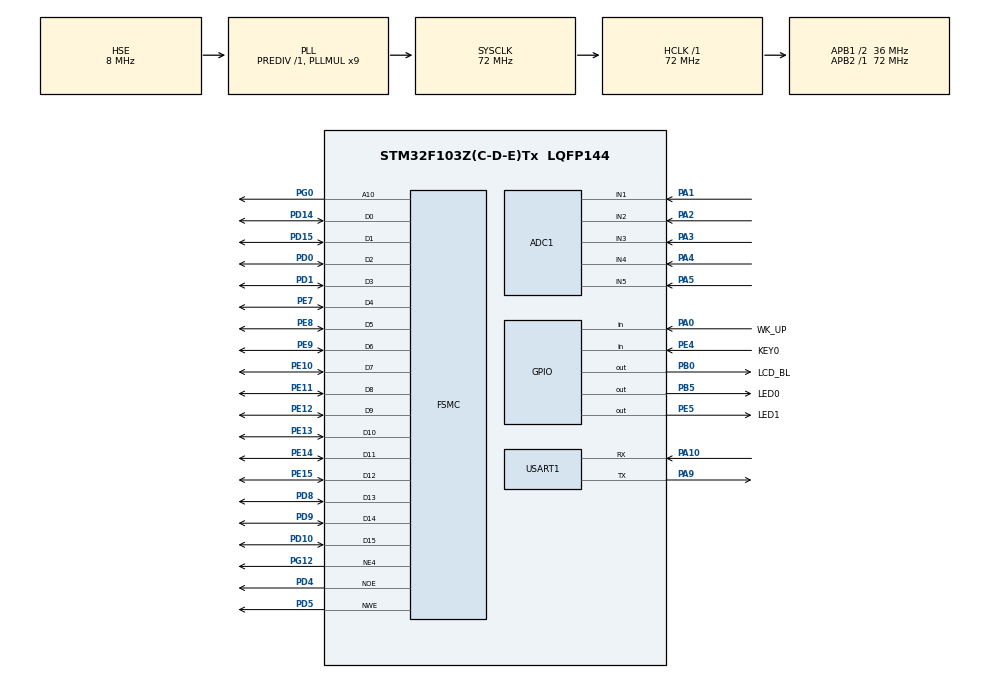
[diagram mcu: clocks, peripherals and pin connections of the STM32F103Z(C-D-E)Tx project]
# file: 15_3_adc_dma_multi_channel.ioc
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ADC1.Channel-1\#ChannelRegularConversion=ADC_CHANNEL_1
ADC1.Channel-2\#ChannelRegularConversion=ADC_CHANNEL_2
ADC1.Channel-3\#ChannelRegularConversion=ADC_CHANNEL_3
ADC1.Channel-4\#ChannelRegularConversion=ADC_CHANNEL_4
ADC1.Channel-5\#ChannelRegularConversion=ADC_CHANNEL_5
ADC1.ContinuousConvMode=ENABLE
ADC1.NbrOfConversion=5
ADC1.NbrOfConversionFlag=1
ADC1.Rank-1\#ChannelRegularConversion=1
ADC1.Rank-2\#ChannelRegularConversion=2
ADC1.Rank-3\#ChannelRegularConversion=3
ADC1.Rank-4\#ChannelRegularConversion=4
ADC1.Rank-5\#ChannelRegularConversion=5
ADC1.SamplingTime-1\#ChannelRegularConversion=ADC_SAMPLETIME_239CYCLES_5
ADC1.SamplingTime-2\#ChannelRegularConversion=ADC_SAMPLETIME_239CYCLES_5
ADC1.SamplingTime-3\#ChannelRegularConversion=ADC_SAMPLETIME_239CYCLES_5
ADC1.SamplingTime-4\#ChannelRegularConversion=ADC_SAMPLETIME_239CYCLES_5
ADC1.SamplingTime-5\#ChannelRegularConversion=ADC_SAMPLETIME_239CYCLES_5
ADC1.master=1
Dma.ADC1.0.Direction=DMA_PERIPH_TO_MEMORY
Dma.ADC1.0.Instance=DMA1_Channel1
Dma.ADC1.0.MemDataAlignment=DMA_MDATAALIGN_HALFWORD
Dma.ADC1.0.MemInc=DMA_MINC_ENABLE
Dma.ADC1.0.Mode=DMA_NORMAL
Dma.ADC1.0.PeriphDataAlignment=DMA_PDATAALIGN_HALFWORD
Dma.ADC1.0.PeriphInc=DMA_PINC_DISABLE
Dma.ADC1.0.Priority=DMA_PRIORITY_MEDIUM
Dma.Request0=ADC1
FSMC.AddressSetupTime1=0
FSMC.DataSetupTime1=15
FSMC.ExtendedAddressSetupTime1=0
FSMC.ExtendedDataSetupTime1=1
FSMC.ExtendedMode1=FSMC_EXTENDED_MODE_ENABLE
Mcu.Family=STM32F1
Mcu.Name=STM32F103Z(C-D-E)Tx
Mcu.Package=LQFP144
NVIC.DMA1_Channel1_IRQn=true\:2\:1\:true\:false\:true\:false\:true\:true
NVIC.PriorityGroup=NVIC_PRIORITYGROUP_2
NVIC.USART1_IRQn=true\:2\:2\:true\:false\:true\:true\:true\:true
OSC_IN.Mode=HSE-External-Oscillator
OSC_IN.Signal=RCC_OSC_IN
OSC_OUT.Mode=HSE-External-Oscillator
OSC_OUT.Signal=RCC_OSC_OUT
PA0-WKUP.GPIO_Label=WK_UP
PA0-WKUP.GPIO_PuPd=GPIO_PULLDOWN
PA0-WKUP.Signal=GPIO_Input
PA1.Signal=ADCx_IN1
PA10.Mode=Asynchronous
PA10.Signal=USART1_RX
PA13.Mode=Serial_Wire
PA13.Signal=SYS_JTMS-SWDIO
PA14.Mode=Serial_Wire
PA14.Signal=SYS_JTCK-SWCLK
PA2.Signal=ADCx_IN2
PA3.Signal=ADCx_IN3
PA4.Signal=ADCx_IN4
PA5.Signal=ADCx_IN5
PA9.Mode=Asynchronous
PA9.Signal=USART1_TX
PB0.GPIO_Label=LCD_BL
PB0.GPIO_PuPd=GPIO_PULLUP
PB0.GPIO_Speed=GPIO_SPEED_FREQ_HIGH
PB0.PinState=GPIO_PIN_SET
PB0.Signal=GPIO_Output
PB5.GPIO_Label=LED0
PB5.GPIO_PuPd=GPIO_PULLDOWN
PB5.GPIO_Speed=GPIO_SPEED_FREQ_HIGH
PB5.PinState=GPIO_PIN_SET
PB5.Signal=GPIO_Output
PC14-OSC32_IN.Mode=LSE-External-Oscillator
PC14-OSC32_IN.Signal=RCC_OSC32_IN
PC15-OSC32_OUT.Mode=LSE-External-Oscillator
PC15-OSC32_OUT.Signal=RCC_OSC32_OUT
PD0.Signal=FSMC_D2_DA2
PD1.Signal=FSMC_D3_DA3
PD10.Signal=FSMC_D15_DA15
PD14.Signal=FSMC_D0_DA0
PD15.Signal=FSMC_D1_DA1
PD4.Signal=FSMC_NOE
PD5.Signal=FSMC_NWE
PD8.Signal=FSMC_D13_DA13
PD9.Signal=FSMC_D14_DA14
PE10.Signal=FSMC_D7_DA7
PE11.Signal=FSMC_D8_DA8
PE12.Signal=FSMC_D9_DA9
PE13.Signal=FSMC_D10_DA10
PE14.Signal=FSMC_D11_DA11
PE15.Signal=FSMC_D12_DA12
PE4.GPIO_Label=KEY0
PE4.GPIO_PuPd=GPIO_PULLDOWN
PE4.Signal=GPIO_Input
PE5.GPIO_Label=LED1
PE5.GPIO_PuPd=GPIO_PULLDOWN
PE5.GPIO_Speed=GPIO_SPEED_FREQ_HIGH
PE5.PinState=GPIO_PIN_SET
PE5.Signal=GPIO_Output
PE7.Signal=FSMC_D4_DA4
PE8.Signal=FSMC_D5_DA5
PE9.Signal=FSMC_D6_DA6
PG0.Signal=FSMC_A10
PG12.Mode=NorPsramChipSelect4_1
PG12.Signal=FSMC_NE4
ProjectManager.HeapSize=0x200
ProjectManager.StackSize=0x400
ProjectManager.TargetToolchain=STM32CubeIDE
RCC.ADCPresc=RCC_ADCPCLK2_DIV6
RCC.AHBFreq_Value=72000000
RCC.APB1CLKDivider=RCC_HCLK_DIV2
RCC.APB1Freq_Value=36000000
RCC.APB1TimFreq_Value=72000000
RCC.APB2Freq_Value=72000000
RCC.APB2TimFreq_Value=72000000
RCC.HCLKFreq_Value=72000000
RCC.PLLMUL=RCC_PLL_MUL9
RCC.PLLSourceVirtual=RCC_PLLSOURCE_HSE
RCC.SYSCLKFreq_VALUE=72000000
RCC.SYSCLKSource=RCC_SYSCLKSOURCE_PLLCLK
RCC.USBFreq_Value=72000000
SH.ADCx_IN1.0=ADC1_IN1,IN1
SH.ADCx_IN2.0=ADC1_IN2,IN2
SH.ADCx_IN3.0=ADC1_IN3,IN3
SH.ADCx_IN4.0=ADC1_IN4,IN4
SH.ADCx_IN5.0=ADC1_IN5,IN5
SH.FSMC_A10.0=FSMC_A10,A10_1
SH.FSMC_D0_DA0.0=FSMC_D0,16b-d1
SH.FSMC_D10_DA10.0=FSMC_D10,16b-d1
SH.FSMC_D11_DA11.0=FSMC_D11,16b-d1
SH.FSMC_D12_DA12.0=FSMC_D12,16b-d1
SH.FSMC_D13_DA13.0=FSMC_D13,16b-d1
SH.FSMC_D14_DA14.0=FSMC_D14,16b-d1
SH.FSMC_D15_DA15.0=FSMC_D15,16b-d1
SH.FSMC_D1_DA1.0=FSMC_D1,16b-d1
SH.FSMC_D2_DA2.0=FSMC_D2,16b-d1
SH.FSMC_D3_DA3.0=FSMC_D3,16b-d1
SH.FSMC_D4_DA4.0=FSMC_D4,16b-d1
SH.FSMC_D5_DA5.0=FSMC_D5,16b-d1
SH.FSMC_D6_DA6.0=FSMC_D6,16b-d1
SH.FSMC_D7_DA7.0=FSMC_D7,16b-d1
SH.FSMC_D8_DA8.0=FSMC_D8,16b-d1
SH.FSMC_D9_DA9.0=FSMC_D9,16b-d1
SH.FSMC_NOE.0=FSMC_NOE,Lcd1
SH.FSMC_NWE.0=FSMC_NWE,Lcd1
USART1.VirtualMode=VM_ASYNC
board=custom

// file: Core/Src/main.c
/* USER CODE BEGIN Header */
/**
 ****************************************************************************************************
 * @file        main.c
 * @author      ALIENTEK
 * @brief       adc_dma_multi_channel code
 * @license     Copyright (C) 2012-2024, ALIENTEK
 ****************************************************************************************************
 * @attention
 *
 * platform     : ALIENTEK M144-STM32F103 board
 * website      : www.alientek.com
 * forum        : www.openedv.com/forum.php
 *
 * change logs  :
 * version      data         notes
 * V1.0         20240410     the first version
 *
 ****************************************************************************************************
 */
/* USER CODE END Header */
#include "main.h"
#include "adc.h"
#include "dma.h"
#include "usart.h"
#include "gpio.h"
#include "fsmc.h"

/* USER CODE BEGIN Includes */
#include "../../BSP/LED/led.h"
#include "../../BSP/KEY/key.h"
#include "../../BSP/LCD/lcd.h"
/* USER CODE END Includes */

void SystemClock_Config(void);
/* USER CODE BEGIN PFP */

#define ADC_DMA_BUF_SIZE    50 * 5                          /* ADC DMA buffer size */
static uint16_t g_adc_dma_buf[ADC_DMA_BUF_SIZE];            /* ADC DMA buffer */
extern uint8_t g_adc_dma_sta;                               /* DMA transfer complete flag */

/* USER CODE END PFP */

int main(void)
{
  /* USER CODE BEGIN 1 */

  uint16_t i, j;
  uint16_t adcx;
  uint32_t sum;
  float temp;

  /* USER CODE END 1 */

  /* MCU Configuration--------------------------------------------------------*/

  /* Reset of all peripherals, Initializes the Flash interface and the Systick. */
  HAL_Init();

  /* Configure the system clock */
  SystemClock_Config();

  /* Initialize all configured peripherals */
  MX_GPIO_Init();
  MX_DMA_Init();
  MX_USART1_UART_Init();
  MX_FSMC_Init();
  MX_ADC1_Init();
  /* USER CODE BEGIN 2 */

  HAL_DMA_Start_IT(&hdma_adc1, (uint32_t)&ADC1->DR, (uint32_t)&g_adc_dma_buf, 0);  /* Start DMA and enable interrupt */
  HAL_ADC_Start_DMA(&hadc1, (uint32_t*)&g_adc_dma_buf, 0);                         /* Turn on the ADC and transmit the result via DMA */

  lcd_init();

  lcd_show_string(30, 50, 200, 16, 16, "STM32", RED);
  lcd_show_string(30, 70, 200, 16, 16, "ADC 5CH DMA TEST", RED);
  lcd_show_string(30, 90, 200, 16, 16, "ATOM@ALIENTEK", RED);
  lcd_show_string(30, 110, 200, 12, 12, "ADC1_CH1_VAL:", BLUE);
  lcd_show_string(30, 122, 200, 12, 12, "ADC1_CH1_VOL:0.000V", BLUE);
  lcd_show_string(30, 140, 200, 12, 12, "ADC1_CH2_VAL:", BLUE);
  lcd_show_string(30, 152, 200, 12, 12, "ADC1_CH2_VOL:0.000V", BLUE);
  lcd_show_string(30, 170, 200, 12, 12, "ADC1_CH3_VAL:", BLUE);
  lcd_show_string(30, 182, 200, 12, 12, "ADC1_CH3_VOL:0.000V", BLUE);
  lcd_show_string(30, 200, 200, 12, 12, "ADC1_CH4_VAL:", BLUE);
  lcd_show_string(30, 212, 200, 12, 12, "ADC1_CH4_VOL:0.000V", BLUE);
  lcd_show_string(30, 230, 200, 12, 12, "ADC1_CH5_VAL:", BLUE);
  lcd_show_string(30, 242, 200, 12, 12, "ADC1_CH5_VOL:0.000V", BLUE);

  adc_dma_enable(ADC_DMA_BUF_SIZE);   /* Turn on the ADC and transmit the result by DMA */

  /* USER CODE END 2 */

  /* Infinite loop */
  while (1)
  {

      if (g_adc_dma_sta == 1)
      {
        /* Loop through and display the results from Channel 4 to Channel 5. */

        for(j = 0; j < 5; j++)        /* Traverse five channels */
        {
          sum = 0;                    /* Reset to zero */

          /* Each channel collected data 10 times and performed 10 accumulations */
          for (i = 0; i < ADC_DMA_BUF_SIZE / 5; i++)
          {
            sum += g_adc_dma_buf[(5 * i) + j];    /* Accumulate conversion data from the same channel. */
          }

          adcx = sum / (ADC_DMA_BUF_SIZE / 5);    /* Calculate the average. */

          /* Display the results */
          lcd_show_xnum(108, 110 + (j * 30), adcx, 4, 12, 0, BLUE);
          temp = (float)adcx * (3.3 / 4096);      /* Calculated actual voltage values with decimals */
          adcx = temp;                            /* Assign the integer part to the variable 'adcx' */
          lcd_show_xnum(108, 122 + (j * 30), adcx, 1, 12, 0, BLUE);

          temp -= adcx;
          temp *= 1000;
          lcd_show_xnum(120, 122 + (j * 30), temp, 3, 12, 0X80, BLUE);
        }

        g_adc_dma_sta = 0;                        /* Clear the DMA completion status flag. */
        adc_dma_enable(ADC_DMA_BUF_SIZE);         /* Start the next ADC DMA acquisition. */
      }

      LED0_TOGGLE();                              /* LED0 state is flipped */
      HAL_Delay(100);

  }
}

void SystemClock_Config(void)
{
  RCC_OscInitTypeDef RCC_OscInitStruct = {0};
  RCC_ClkInitTypeDef RCC_ClkInitStruct = {0};
  RCC_PeriphCLKInitTypeDef PeriphClkInit = {0};

  /** Initializes the RCC Oscillators according to the specified parameters
  * in the RCC_OscInitTypeDef structure.
  */
  RCC_OscInitStruct.OscillatorType = RCC_OSCILLATORTYPE_HSE;
  RCC_OscInitStruct.HSEState = RCC_HSE_ON;
  RCC_OscInitStruct.HSEPredivValue = RCC_HSE_PREDIV_DIV1;
  RCC_OscInitStruct.HSIState = RCC_HSI_ON;
  RCC_OscInitStruct.PLL.PLLState = RCC_PLL_ON;
  RCC_OscInitStruct.PLL.PLLSource = RCC_PLLSOURCE_HSE;
  RCC_OscInitStruct.PLL.PLLMUL = RCC_PLL_MUL9;
  if (HAL_RCC_OscConfig(&RCC_OscInitStruct) != HAL_OK)
  {
    Error_Handler();
  }

  /** Initializes the CPU, AHB and APB buses clocks
  */
  RCC_ClkInitStruct.ClockType = RCC_CLOCKTYPE_HCLK|RCC_CLOCKTYPE_SYSCLK
                              |RCC_CLOCKTYPE_PCLK1|RCC_CLOCKTYPE_PCLK2;
  RCC_ClkInitStruct.SYSCLKSource = RCC_SYSCLKSOURCE_PLLCLK;
  RCC_ClkInitStruct.AHBCLKDivider = RCC_SYSCLK_DIV1;
  RCC_ClkInitStruct.APB1CLKDivider = RCC_HCLK_DIV2;
  RCC_ClkInitStruct.APB2CLKDivider = RCC_HCLK_DIV1;

  if (HAL_RCC_ClockConfig(&RCC_ClkInitStruct, FLASH_LATENCY_2) != HAL_OK)
  {
    Error_Handler();
  }
  PeriphClkInit.PeriphClockSelection = RCC_PERIPHCLK_ADC;
  PeriphClkInit.AdcClockSelection = RCC_ADCPCLK2_DIV6;
  if (HAL_RCCEx_PeriphCLKConfig(&PeriphClkInit) != HAL_OK)
  {
    Error_Handler();
  }
}

void Error_Handler(void)
{
  __disable_irq();
  while (1)
  {
  }
}
